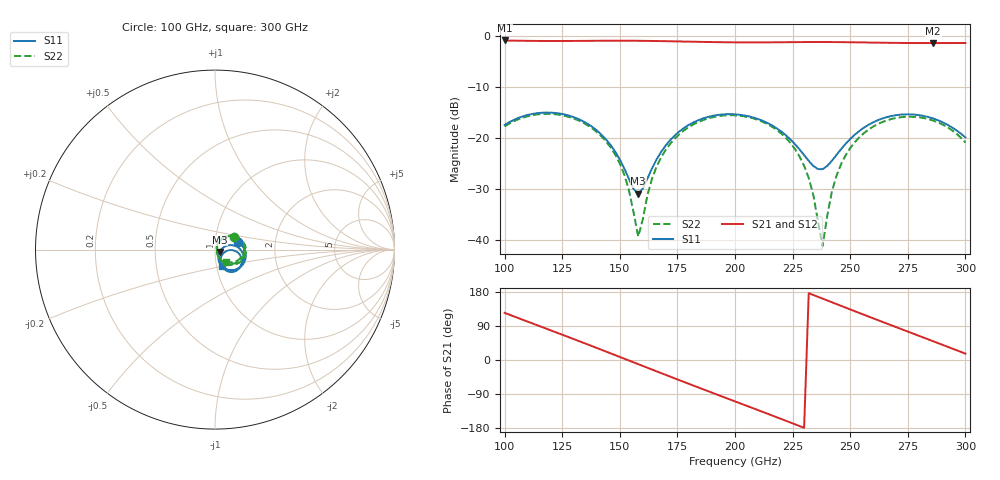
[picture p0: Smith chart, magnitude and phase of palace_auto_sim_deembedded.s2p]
! Created with skrf 1.11.0 (http://scikit-rf.org).
# GHz S DB R 50.0
!freq dBS11 angS11 dBS21 angS21 dBS12 angS12 dBS22 angS22
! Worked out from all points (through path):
!   101 points, 100 GHz to 300 GHz, reference 50 ohm
!   highest |S21| = -0.89 dB at 100 GHz (marker M1); lowest = -1.4 dB at 286 GHz (marker M2)
!   group delay of S21, straight-line fit = 6.5 ps
!   lowest |S11| = -30.9 dB at 158 GHz (marker M3), VSWR 1.06, Z = 52.6 - j1.32 ohm
!   |S11| at or under -10 dB: start of sweep to end of sweep
!   |S22| runs from -41.2 to -15.3 dB; largest |S21 - S12| = 1e-13
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100  -17.45 17.2  -0.89 124.4  -0.89 124.4  -17.72 33.9
116  -15.04 -15.4  -0.99 87.5  -0.99 87.5  -15.29 2.0
134  -16.70 -51.9  -0.97 45.8  -0.97 45.8  -16.97 -35.0
144  -20.26 -68.3  -0.94 22.3  -0.94 22.3  -20.64 -54.3
150  -24.19 -71.2  -0.94 8.1  -0.94 8.1  -24.99 -63.1
154  -28.04 -61.6  -0.95 -1.4  -0.95 -1.4  -30.26 -62.4
158  -30.85 -25.9  -0.96 -11.0  -0.96 -11.0  -39.29 -10.1
164  -25.91 15.3  -0.99 -25.2  -0.99 -25.2  -27.92 59.8
168  -22.66 18.1  -1.02 -34.7  -1.02 -34.7  -23.72 57.1
184  -16.52 -3.8  -1.16 -72.3  -1.16 -72.3  -16.87 28.0
200  -15.36 -32.8  -1.26 -109.2  -1.26 -109.2  -15.55 -4.3
210  -16.28 -49.7  -1.27 -132.3  -1.27 -132.3  -16.45 -24.7
222  -19.42 -65.0  -1.23 -160.1  -1.23 -160.1  -19.92 -49.0
230  -23.33 -63.0  -1.21 -179.0  -1.21 -179.0  -25.43 -62.5
234  -25.46 -50.5  -1.20 171.5  -1.20 171.5  -31.16 -62.7
238  -26.09 -28.5  -1.20 162.0  -1.20 162.0  -41.16 6.5
242  -24.48 -10.3  -1.21 152.5  -1.21 152.5  -30.59 63.6
248  -21.13 -1.6  -1.23 138.2  -1.23 138.2  -23.38 59.7
256  -17.95 -6.9  -1.28 119.3  -1.28 119.3  -19.02 44.6
268  -15.67 -24.7  -1.36 91.3  -1.36 91.3  -16.25 19.2
286  -16.16 -53.5  -1.40 49.5  -1.40 49.5  -16.57 -19.2
300  -19.86 -66.0  -1.39 16.8  -1.39 16.8  -20.87 -48.0
